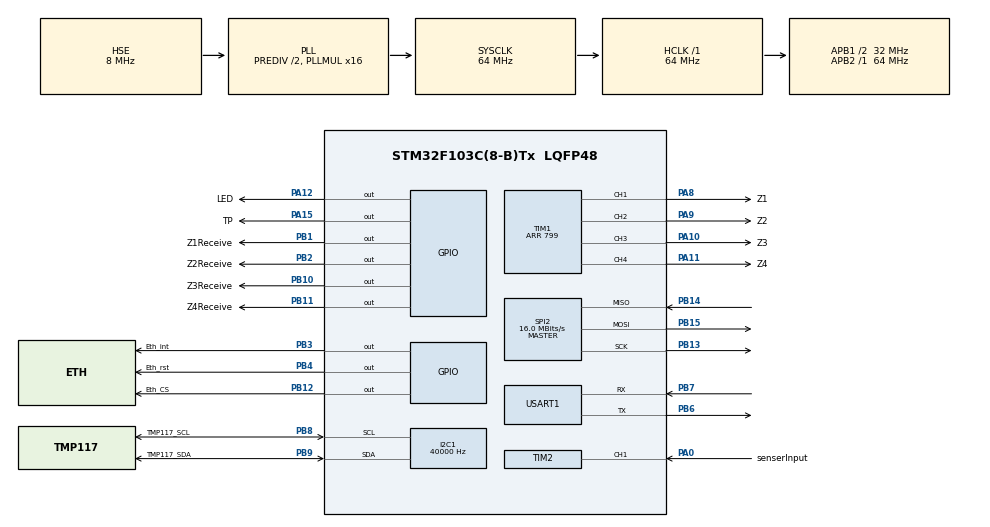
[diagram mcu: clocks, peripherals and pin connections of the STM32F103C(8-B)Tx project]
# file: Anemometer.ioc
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Mcu.Family=STM32F1
PA11.GPIO_Speed=GPIO_SPEED_FREQ_HIGH
SH.S_TIM1_CH4.0=TIM1_CH4,Output Compare4 CH4
VP_TIM1_VS_OPM.Mode=OPM_bit
TIM2.Channel-Input_Capture1_from_TI1=TIM_CHANNEL_1
PB10.GPIO_Speed=GPIO_SPEED_FREQ_HIGH
SPI2.VirtualType=VM_MASTER
TIM1.RepetitionCounter=7
VP_TIM3_VS_OPM.Mode=OPM_bit
VP_IWDG_VS_IWDG.Mode=IWDG_Activate
PB2.GPIO_Speed=GPIO_SPEED_FREQ_HIGH
PB11.Signal=GPIO_Output
PB15.Signal=SPI2_MOSI
PB13.Signal=SPI2_SCK
TIM4.TIM_MasterOutputTrigger=TIM_TRGO_UPDATE
RCC.SYSCLKSource=RCC_SYSCLKSOURCE_PLLCLK
ProjectManager.StackSize=0x400
PD1-OSC_OUT.Signal=RCC_OSC_OUT
PB11.GPIO_Speed=GPIO_SPEED_FREQ_HIGH
VP_TIM2_VS_ClockSourceITR.Mode=TriggerSource_ITR2
PA15.GPIO_Label=TP
TIM1.Channel-Output\ Compare2\ CH2=TIM_CHANNEL_2
PA12.Signal=GPIO_Output
SPI2.CLKPolarity=SPI_POLARITY_LOW
TIM2.ICPolarity_CH2=TIM_INPUTCHANNELPOLARITY_FALLING
I2C1.ClockSpeed=40000
RCC.HCLKFreq_Value=64000000
RCC.APB2TimFreq_Value=64000000
TIM3.Period=30800
PB6.Signal=USART1_TX
PB6.Mode=Asynchronous
TIM1.OC1Preload=ENABLE
RCC.AHBFreq_Value=64000000
SPI2.BaudRatePrescaler=SPI_BAUDRATEPRESCALER_2
PA12.PinState=GPIO_PIN_RESET
PB2.Signal=GPIO_Output
RCC.PLLMUL=RCC_PLL_MUL16
PB12.GPIO_Label=Eth_CS
PB1.GPIO_Speed=GPIO_SPEED_FREQ_HIGH
PB14.Mode=Full_Duplex_Master
PB1.GPIO_Label=Z1Receive
NVIC.TIM2_IRQn=true\:0\:0\:false\:false\:true\:true\:true
PA10.GPIO_Label=Z3
SPI2.CalculateBaudRate=16.0 MBits/s
PB7.Signal=USART1_RX
PA8.Signal=S_TIM1_CH1
TIM4.Period=65535
VP_TIM3_VS_ClockSourceITR.Mode=TriggerSource_ITR0
VP_TIM1_VS_ClockSourceINT.Mode=Internal
PB9.Signal=I2C1_SDA
Mcu.Package=LQFP48
TIM2.Prescaler=0
PB1.Signal=GPIO_Output
SPI2.Mode=SPI_MODE_MASTER
TIM2.Channel-Input_Capture2_from_TI1=TIM_CHANNEL_2
PA10.Signal=S_TIM1_CH3
PA15.Signal=GPIO_Output
SPI2.CLKPhase=SPI_PHASE_1EDGE
PA10.GPIO_Speed=GPIO_SPEED_FREQ_HIGH
TIM2.TIM_MasterOutputTrigger=TIM_TRGO_RESET
RCC.APB1TimFreq_Value=64000000
SPI2.Direction=SPI_DIRECTION_2LINES
TIM1.Period=799
PB13.Mode=Full_Duplex_Master
PA8.GPIO_Speed=GPIO_SPEED_FREQ_HIGH
VP_TIM3_VS_ClockSourceINT.Mode=Internal
PA12.GPIO_Speed=GPIO_SPEED_FREQ_HIGH
TIM1.Channel-Output\ Compare3\ CH3=TIM_CHANNEL_3
PB4.Signal=GPIO_Output
PB3.GPIO_Label=Eth_int
RCC.PLLSourceVirtual=RCC_PLLSOURCE_HSE
TIM4.AutoReloadPreload=TIM_AUTORELOAD_PRELOAD_ENABLE
TIM3.Channel-Output\ Compare1\ No\ Output=TIM_CHANNEL_1
PD1-OSC_OUT.Mode=HSE-External-Oscillator
PB9.GPIO_Label=TMP117_SDA
TIM3.AutoReloadPreload=TIM_AUTORELOAD_PRELOAD_ENABLE
TIM1.OCMode_4=TIM_OCMODE_TOGGLE
VP_TIM2_VS_ControllerModeReset.Mode=Reset Mode
TIM1.OCMode_3=TIM_OCMODE_TOGGLE
VP_TIM3_VS_ControllerModeTrigger.Mode=Trigger Mode
TIM1.CounterMode=TIM_COUNTERMODE_UP
PA9.GPIO_Label=Z2
TIM1.OCMode_2=TIM_OCMODE_TOGGLE
TIM1.OCMode_1=TIM_OCMODE_TOGGLE
PB11.GPIO_Label=Z4Receive
PA11.GPIO_Label=Z4
PD0-OSC_IN.Signal=RCC_OSC_IN
RCC.APB1CLKDivider=RCC_HCLK_DIV2
VP_SYS_VS_ND.Mode=No_Debug
PA12.GPIO_Label=LED
PA0-WKUP.GPIO_Label=senserInput
PA0-WKUP.Signal=S_TIM2_CH1_ETR
TIM1.ClockDivision=TIM_CLOCKDIVISION_DIV1
TIM1.AutoReloadPreload=TIM_AUTORELOAD_PRELOAD_ENABLE
PB8.GPIO_Label=TMP117_SCL
PA8.GPIO_Label=Z1
SH.S_TIM1_CH1.0=TIM1_CH1,Output Compare1 CH1
ProjectManager.TargetToolchain=STM32CubeIDE
PB10.GPIO_Label=Z3Receive
SPI2.CRCCalculation=SPI_CRCCALCULATION_DISABLE
I2C1.I2C_Mode=I2C_Standard
PB9.Mode=I2C
PA9.Signal=S_TIM1_CH2
RCC.USBFreq_Value=64000000
TIM1.Channel-Output\ Compare4\ CH4=TIM_CHANNEL_4
TIM4.Prescaler=2
PB12.GPIO_Speed=GPIO_SPEED_FREQ_HIGH
PD0-OSC_IN.Mode=HSE-External-Oscillator
PB10.Signal=GPIO_Output
PB14.Signal=SPI2_MISO
board=custom
VP_TIM3_VS_no_output1.Mode=Output Compare1 No Output
PB15.Mode=Full_Duplex_Master
NVIC.TIM3_IRQn=true\:0\:0\:true\:false\:true\:true\:true
PA15.PinState=GPIO_PIN_RESET
TIM1.TIM_MasterOutputTrigger=TIM_TRGO_OC1
RCC.APB2Freq_Value=64000000
PB4.GPIO_Label=Eth_rst
TIM3.OCMode_1=TIM_OCMODE_ACTIVE
TIM4.ClockDivision=TIM_CLOCKDIVISION_DIV1
SH.S_TIM1_CH2.0=TIM1_CH2,Output Compare2 CH2
VP_TIM2_VS_ClockSourceINT.Mode=Internal
Mcu.Name=STM32F103C(8-B)Tx
PB3.Signal=GPIO_Output
RCC.SYSCLKFreq_VALUE=64000000
RCC.HSEDivPLL=RCC_HSE_PREDIV_DIV2
SPI2.FirstBit=SPI_FIRSTBIT_MSB
TIM3.TIM_MasterSlaveMode=TIM_MASTERSLAVEMODE_DISABLE
USART1.VirtualMode=VM_ASYNC
PA15.GPIO_Speed=GPIO_SPEED_FREQ_HIGH
PB7.Mode=Asynchronous
SH.S_TIM2_CH1_ETR.1=TIM2_CH1,Input_Capture2_from_TI1
PA11.Signal=S_TIM1_CH4
SH.S_TIM2_CH1_ETR.0=TIM2_CH1,Input_Capture1_from_TI1
PB2.GPIO_Label=Z2Receive
ProjectManager.HeapSize=0x200
TIM1.Channel-Output\ Compare1\ CH1=TIM_CHANNEL_1
SH.S_TIM1_CH3.0=TIM1_CH3,Output Compare3 CH3
TIM1.Pulse-Output\ Compare1\ CH1=0
VP_TIM4_VS_ClockSourceINT.Mode=Internal
NVIC.PriorityGroup=NVIC_PRIORITYGROUP_4
PB8.Mode=I2C
IWDG.Prescaler=IWDG_PRESCALER_128
TIM2.TIM_MasterSlaveMode=TIM_MASTERSLAVEMODE_DISABLE
PA9.GPIO_Speed=GPIO_SPEED_FREQ_HIGH
PB8.Signal=I2C1_SCL
TIM2.AutoReloadPreload=TIM_AUTORELOAD_PRELOAD_DISABLE
SPI2.DataSize=SPI_DATASIZE_8BIT
TIM3.TIM_MasterOutputTrigger=TIM_TRGO_OC1
NVIC.TIM4_IRQn=true\:0\:0\:false\:false\:true\:true\:true
RCC.APB1Freq_Value=32000000
PB12.Signal=GPIO_Output
TIM1.TIM_MasterSlaveMode=TIM_MASTERSLAVEMODE_DISABLE

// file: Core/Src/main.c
/* USER CODE BEGIN Header */
/**
  ******************************************************************************
  * @file           : main.c
  * @brief          : Main program body
  ******************************************************************************
  * @attention
  *
  * <h2><center>&copy; Copyright (c) 2022 STMicroelectronics.
  * All rights reserved.</center></h2>
  *
  * This software component is licensed by ST under BSD 3-Clause license,
  * the "License"; You may not use this file except in compliance with the
  * License. You may obtain a copy of the License at:
  *                        opensource.org/licenses/BSD-3-Clause
  *
  ******************************************************************************

  Clock timers must be 64MHz.

  */
/* USER CODE END Header */
#include "main.h"

I2C_HandleTypeDef hi2c1;

IWDG_HandleTypeDef hiwdg;

SPI_HandleTypeDef hspi2;

TIM_HandleTypeDef htim1;
TIM_HandleTypeDef htim2;
TIM_HandleTypeDef htim3;
TIM_HandleTypeDef htim4;

UART_HandleTypeDef huart1;

/* USER CODE BEGIN PV */
HAL_StatusTypeDef	flash_ok;
char uart_buffer[10] = {0,};
char SndBuffer[200] = {0,};
uint32_t fastCounter;
wiz_NetInfo net_info = {
	.mac  = { MAC_ADDRESS },
	.dhcp = NETINFO_DHCP
};
/* USER CODE END PV */

void SystemClock_Config(void);
static void MX_GPIO_Init(void);
static void MX_TIM1_Init(void);
static void MX_USART1_UART_Init(void);
static void MX_TIM2_Init(void);
static void MX_TIM4_Init(void);
static void MX_TIM3_Init(void);
static void MX_I2C1_Init(void);
static void MX_SPI2_Init(void);
static void MX_IWDG_Init(void);

/* USER CODE BEGIN 0 */

void rwFlash(uint8_t rwFlag) {
	uint32_t pageAdr = 0x800FC00; //.
	uint32_t magicKey;
	uint64_t dataForSave;
	magicKey = *(__IO uint32_t*) pageAdr;
	if ((magicKey != 0x12349876) || (rwFlag == 1)) { // rwFlag == 1 for wrtite data to flash
		magicKey = 0x12349876;
		if (rwFlag == 0) { // For first initial
			C_12 = CALIBRATE_START;
			C_34 = CALIBRATE_START;
			C_14 = CALIBRATE_START;
			C_23 = CALIBRATE_START;
			DX1.f = 1;
			DX2.f = 1;
			DY1.f = 1;
			DY2.f = 1;
		}
		FLASH_EraseInitTypeDef EraseInitStruct;
		uint32_t PAGEError = 0;
		EraseInitStruct.TypeErase   = FLASH_TYPEERASE_PAGES;
		EraseInitStruct.PageAddress = pageAdr; //
		EraseInitStruct.NbPages     = 1;

		flash_ok = HAL_ERROR;
		// Unlock flash
		while(flash_ok != HAL_OK) {
		  flash_ok = HAL_FLASH_Unlock();
		}
		if (HAL_FLASHEx_Erase(&EraseInitStruct, &PAGEError) == HAL_OK) {
			dataForSave = (uint64_t) magicKey;
			flash_ok = HAL_ERROR;
			while(flash_ok != HAL_OK){
				flash_ok = HAL_FLASH_Program(FLASH_TYPEPROGRAM_DOUBLEWORD, pageAdr, dataForSave); // Write  magic key
			}
			dataForSave = (uint64_t) (C_12 | ((uint64_t) C_34 << 16) | ((uint64_t) C_14 << 32) | ((uint64_t) C_23 << 48));
			flash_ok = HAL_ERROR;
			while(flash_ok != HAL_OK){
				flash_ok = HAL_FLASH_Program(FLASH_TYPEPROGRAM_DOUBLEWORD, pageAdr + 16, dataForSave); // Write C_12 C_34 C_14 C_23
			}
			flash_ok = HAL_ERROR;
			while(flash_ok != HAL_OK){
				flash_ok = HAL_FLASH_Program(FLASH_TYPEPROGRAM_WORD, pageAdr + 24, DX1.u); // Write DX1
			}
			flash_ok = HAL_ERROR;
			while(flash_ok != HAL_OK){
				flash_ok = HAL_FLASH_Program(FLASH_TYPEPROGRAM_WORD, pageAdr + 28, DX2.u); // Write DX2
			}
			flash_ok = HAL_ERROR;
			while(flash_ok != HAL_OK){
				flash_ok = HAL_FLASH_Program(FLASH_TYPEPROGRAM_WORD, pageAdr + 32, DY1.u); // Write DY1
			}
			flash_ok = HAL_ERROR;
			while(flash_ok != HAL_OK){
				flash_ok = HAL_FLASH_Program(FLASH_TYPEPROGRAM_WORD, pageAdr + 36, DY2.u); // Write DY2
			}
		}
		// Lock flash
		flash_ok = HAL_ERROR;
		while(flash_ok != HAL_OK){
			flash_ok = HAL_FLASH_Lock();
		}
	} else {
		C_12 = *(__IO uint16_t*) (pageAdr + 16);
		C_34 = *(__IO uint16_t*) (pageAdr + 18);
		C_14 = *(__IO uint16_t*) (pageAdr + 20);
		C_23 = *(__IO uint16_t*) (pageAdr + 22);
		memset(SndBuffer, 0, sizeof(SndBuffer));
		sprintf(SndBuffer, "C_12: %5d, C_34: %5d, C_14: %5d, C_23: %5d\r\n", C_12, C_34, C_14, C_23);
		HAL_UART_Transmit(&huart1, (uint8_t *) SndBuffer, sizeof(SndBuffer), 1000);
		DX1.u = *(__IO uint32_t*) (pageAdr + 24);
		DX2.u = *(__IO uint32_t*) (pageAdr + 28);
		DY1.u = *(__IO uint32_t*) (pageAdr + 32);
		DY2.u = *(__IO uint32_t*) (pageAdr + 36);
		memset(SndBuffer, 0, sizeof(SndBuffer));
		sprintf(SndBuffer, "DX1: %7.6f, DX2: %7.6f, DY1: %7.6f, DY2: %7.6f\r\n", DX1.f, DX2.f, DY1.f, DY2.f);
		HAL_UART_Transmit(&huart1, (uint8_t *) SndBuffer, sizeof(SndBuffer), 1000);
	}
}

#ifdef ZABBIX_DEBUG
void UART_Printf(const char* fmt, ...) {
	char buff[256];
	va_list args;
	va_start(args, fmt);
	vsnprintf(buff, sizeof(buff), fmt, args);
	HAL_UART_Transmit(&huart1, (uint8_t*) buff, strlen(buff), HAL_MAX_DELAY);
	va_end(args);
}
#endif

void W5500_Select(void) {
	HAL_GPIO_WritePin(GPIOB, W5500_CS_Pin, GPIO_PIN_RESET);
}

void W5500_Unselect(void) {
	HAL_GPIO_WritePin(GPIOB, W5500_CS_Pin, GPIO_PIN_SET);
}

void W5500_ReadBuff(uint8_t* buff, uint16_t len) {
	HAL_SPI_Receive(&hspi2, buff, len, HAL_MAX_DELAY);
}

void W5500_WriteBuff(uint8_t* buff, uint16_t len) {
	HAL_SPI_Transmit(&hspi2, buff, len, HAL_MAX_DELAY);
}

uint8_t W5500_ReadByte(void) {
	uint8_t byte;
	W5500_ReadBuff(&byte, sizeof(byte));
	return byte;
}

void W5500_WriteByte(uint8_t byte) {
	W5500_WriteBuff(&byte, sizeof(byte));
}

volatile bool ip_assigned = false;

void Callback_IPAssigned(void) {
#ifdef ZABBIX_DEBUG
	UART_Printf("Callback: IP assigned! Leased time: %d sec\r\n", getDHCPLeasetime());
#endif
    ip_assigned = true;
}

void Callback_IPConflict(void) {
#ifdef ZABBIX_DEBUG
    UART_Printf("Callback: IP conflict!\r\n");
#endif
}

// 1K should be enough, see https://forum.wiznet.io/t/topic/1612/2
uint8_t dhcp_buffer[1024];
// 1K seems to be enough for this buffer as well
//uint8_t dns_buffer[1024];

/*
 * addr -- IP address zabbix server, dhcp option 224.
 * Settings for isc-dhcp-server:
 * 		option zabbix-server-ip code 224 = ip-address ;
 * 		option zabix-host-name code 225 = string ;
 * 		host anemometr {
 *      	hardware ethernet 00:11:22:33:44:xx;
 *      	fixed-address 192.168.1.24;
 *       	option zabbix-server-ip 192.168.1.6;
 *       	option zabix-host-name "Ed";
 * 		}
 *
 * key -- Zabbix key: {ALTIM_DIRECT, ALTIM_SPEED}
 *
 * value -- Float value of key.
*/
uint8_t sendToZabbix(uint8_t * addr, char * host, char * key, float value) {
#ifdef ZABBIX_DEBUG
    UART_Printf("Creating socket...\r\n");
#endif
    uint8_t tcp_socket = TCP_SOCKET;
    uint8_t code = socket(tcp_socket, Sn_MR_TCP, 10888, 0);
    if(code != tcp_socket) {
	#ifdef ZABBIX_DEBUG
        UART_Printf("socket() failed, code = %d\r\n", code);
	#endif
        return(-1);
    }
#ifdef ZABBIX_DEBUG
    UART_Printf("Socket created, connecting...\r\n");
#endif
    code = connect(tcp_socket, addr, ZABBIXPORT);
    if(code != SOCK_OK) {
	#ifdef ZABBIX_DEBUG
        UART_Printf("connect() failed, code = %d\r\n", code);
	#endif
        close(tcp_socket);
        return(-2);
    }
#ifdef ZABBIX_DEBUG
    UART_Printf("Connected, sending ZABBIX request...\r\n");
#endif
    {
    	char req[ZABBIXMAXLEN];
    	char str[ZABBIXMAXLEN - 13];
    	sprintf(str, "{\"request\":\"sender data\",\"data\":[{\"host\":\"%.20s\",\"key\":\"%s\",\"value\":\"%f\"}]}", host, key, value);
    	req[0] = 'Z';
    	req[1] = 'B';
		req[2] = 'X';
		req[3] = 'D';
		req[4] = 0x01;
		req[5] = strlen(str);
		req[6] = 0;
		req[7] = 0;
		req[8] = 0;
		req[9] = 0;
		req[10] = 0;
		req[11] = 0;
		req[12] = 0;
		strcpy(req + 13, str);
        //char req[] = "ZBXD\1\0\0\0\0\0\0\0\0{\"request\":\"sender data\",\"data\":[{\"host\":\"Ed\",\"key\":\"ALTIM_DIRECT\",\"value\":\"10\"}]}";
        uint8_t len = req[5] + 13;
        uint8_t* buff = (uint8_t*)&req;
        while(len > 0) {
		#ifdef ZABBIX_DEBUG
            UART_Printf("Sending %d bytes, data length %d bytes...\r\n", len, req[5]);
		#endif
            int32_t nbytes = send(tcp_socket, buff, len);
            if(nbytes <= 0) {
			#ifdef ZABBIX_DEBUG
                UART_Printf("send() failed, %d returned\r\n", nbytes);
			#endif
                close(tcp_socket);
                return(-3);
            }
			#ifdef ZABBIX_DEBUG
            UART_Printf("%d b sent!\r\n", nbytes);
			#endif
            len -= nbytes;
        }
    }
    /* Read data from Zabbix */
	#ifdef ZABBIX_DEBUG
		UART_Printf("Read.\r\n");
		{
			char buff[32];
			for(;;) {
				int32_t nbytes = recv(tcp_socket, (uint8_t*)&buff, sizeof(buff)-1);
				if(nbytes == SOCKERR_SOCKSTATUS) {
					UART_Printf("\r\nDisconnect.\r\n");
					break;
				}

				if(nbytes <= 0) {
					UART_Printf("\r\nrecv() failed, %d\r\n", nbytes);
					break;
				}

				buff[nbytes] = '\0';
				UART_Printf("%s", buff);
			}
		}

		UART_Printf("Closing socket.\r\n");
	#endif
    close(tcp_socket);
    return(0);
}

void init_w5500() {
	#ifdef ZABBIX_DEBUG
    UART_Printf("\r\ninit() called!\r\n");
    UART_Printf("Registering W5500 callbacks...\r\n");
	#endif
    reg_wizchip_cs_cbfunc(W5500_Select, W5500_Unselect);
    reg_wizchip_spi_cbfunc(W5500_ReadByte, W5500_WriteByte);
    reg_wizchip_spiburst_cbfunc(W5500_ReadBuff, W5500_WriteBuff);
	#ifdef ZABBIX_DEBUG
    UART_Printf("Calling wizchip_init()...\r\n");
	#endif
    uint8_t rx_tx_buff_sizes[] = {2, 2, 2, 2, 2, 2, 2, 2};
    wizchip_init(rx_tx_buff_sizes, rx_tx_buff_sizes);
	#ifdef ZABBIX_DEBUG
    UART_Printf("Calling DHCP_init()...\r\n");
	#endif

    // set MAC address before using DHCP
    setSHAR(net_info.mac);
    DHCP_init(DHCP_SOCKET, dhcp_buffer);
	#ifdef ZABBIX_DEBUG
    UART_Printf("Registering DHCP callbacks...\r\n");
	#endif
    reg_dhcp_cbfunc(
        Callback_IPAssigned,
        Callback_IPAssigned,
        Callback_IPConflict
    );
	#ifdef ZABBIX_DEBUG
    UART_Printf("Calling DHCP_run()...\r\n");
	#endif
    // actually should be called in a loop, e.g. by timer
    uint32_t ctr = 10000;
    while((!ip_assigned) && (ctr > 0)) {
        DHCP_run();
        ctr--;
        HAL_Delay(100);
    }
    if(!ip_assigned) {
		#ifdef ZABBIX_DEBUG
        UART_Printf("\r\nIP was not assigned :(\r\n");
		#endif
        return;
    }

    getIPfromDHCP(net_info.ip);
    getGWfromDHCP(net_info.gw);
    getSNfromDHCP(net_info.sn);
    getZABBIXfromDHCP(net_info.zabbix);
    getHostNamefromDHCP(net_info.hostname);
    if (net_info.hostname[0] == '\0') {
    	sprintf(ZabbixHostName, "%s", ZABBIXAGHOST);
    } else {
    	sprintf(ZabbixHostName, "%s", net_info.hostname);
    }

    //uint8_t dns[4];
    //getDNSfromDHCP(dns);
	#ifdef ZABBIX_DEBUG
    UART_Printf("IP:  %d.%d.%d.%d\r\nGW:  %d.%d.%d.%d\r\nNet: %d.%d.%d.%d\r\nZabbix: %d.%d.%d.%d\r\nHostName:%s\r\n",
        net_info.ip[0], net_info.ip[1], net_info.ip[2], net_info.ip[3],
        net_info.gw[0], net_info.gw[1], net_info.gw[2], net_info.gw[3],
        net_info.sn[0], net_info.sn[1], net_info.sn[2], net_info.sn[3],
        net_info.zabbix[0], net_info.zabbix[1], net_info.zabbix[2], net_info.zabbix[3],
		ZabbixHostName
    );
    UART_Printf("Calling wizchip_setnetinfo()...\r\n");
	#endif
    wizchip_setnetinfo(&net_info);

}

/* USER CODE END 0 */

int main(void)
{

  /* MCU Configuration--------------------------------------------------------*/

  /* Reset of all peripherals, Initializes the Flash interface and the Systick. */
  HAL_Init();

  /* Configure the system clock */
  SystemClock_Config();

  /* Initialize all configured peripherals */
  MX_GPIO_Init();
  MX_TIM1_Init();
  MX_USART1_UART_Init();
  MX_TIM2_Init();
  MX_TIM4_Init();
  MX_TIM3_Init();
  MX_I2C1_Init();
  MX_SPI2_Init();
  MX_IWDG_Init();

  /* Infinite loop */
  /* USER CODE BEGIN WHILE */
  HAL_GPIO_WritePin(GPIOA, LED_Pin, GPIO_PIN_SET);
  readyFlag = TRUE;
  sumCounter2 = 0;
  /* Turn off all multiplexer */
  GPIOB->ODR &= ~((1 << Z1Receive) | (1 << Z2Receive) | (1 << Z3Receive) | (1 << Z4Receive));
  /*
   * currentMode
   * Z1--Z2
   * |	  | > N
   * Z4__Z3
   *
   * 0 - Z1 >> Z2
   * 1 - Z2 >> Z1
   * 2 - Z2 >> Z3
   * 3 - Z3 >> Z2
   * 4 - Z3 >> Z4
   * 5 - Z4 >> Z3
   * 6 - Z4 >> Z1
   * 7 - Z1 >> Z4
   */
  HAL_UART_Transmit(&huart1, (uint8_t *) START_TEXT, sizeof(START_TEXT), HAL_MAX_DELAY);
#ifdef ZABBIX_ENABLE
  HAL_GPIO_WritePin(GPIOB, GPIO_PIN_4, GPIO_PIN_RESET);	// Reset W5500
  HAL_GPIO_WritePin(GPIOB, GPIO_PIN_4, GPIO_PIN_SET);
  HAL_GPIO_WritePin(GPIOB, W5500_CS_Pin, GPIO_PIN_SET);
  HAL_Delay(2000);
  init_w5500();
#else
  HAL_GPIO_WritePin(GPIOB, GPIO_PIN_4, GPIO_PIN_RESET);	// Reset W5500
#endif
  rwFlash(0);		// Чтение параметров калибровки из Flash.
//  C_12 = 37640;
//  C_34 = 38450;
//  C_14 = 37600;
//  C_23 = 38500;
  firstTime = TRUE;
  currentMode = 0;
  STOP_CAPTURE
  measCount = 0;
  /*
   * calibrateMode == 0 -- Нормальный режим
   * calibrateMode > 0 -- Режим калибровки
   */
  calibrateMode = 0;
  test_flag = FALSE;
  Xsum = 0;
  Ysum = 0;
  Vmax = 0;
  /*
   *	Очистка массива результатов.
   */
  for (int ii = 0; ii < MEASSURE_COUNT; ii++) {
	  resul_arrayX1[ii] = 0;
	  resul_arrayX2[ii] = 0;
	  resul_arrayY1[ii] = 0;
	  resul_arrayY2[ii] = 0;
  }
  calibrate12 = FALSE;
  calibrate34 = FALSE;
  calibrate14 = FALSE;
  calibrate23 = FALSE;
#ifdef BME280_ENABLE
  BME280_Init();
#endif
  HAL_UART_Transmit(&huart1, (uint8_t *) INIT_FINISH_TEXT, sizeof(INIT_FINISH_TEXT), HAL_MAX_DELAY);
  readyFlag = FALSE;
  currentMode = 0;
  HAL_GPIO_WritePin(GPIOA, LED_Pin, GPIO_PIN_RESET);	// LED off
  HAL_TIM_Base_Start_IT(&htim3);
  HAL_TIM_Base_Start_IT(&htim4); // Запуск измерения

  while (1) {
	  //HAL_IWDG_Refresh(&hiwdg);
	  if (readyFlag) {
		  SysTick->CTRL |= SysTick_CTRL_ENABLE_Msk;  // Включение SysTick
		  HAL_IWDG_Refresh(&hiwdg);
		  readyFlag = FALSE;
		  if (calibrateMode > 0) {
			  /* Процедура калибровки */
			  if ((calibrate12 || calibrate34 || calibrate14 || calibrate23) && (calibrateCount < CALIBRATE_MAX_COUNT)) {
				  memset(SndBuffer, 0, sizeof(SndBuffer));
				  if (test_flag) {
					  sprintf(SndBuffer, "Z12-Z21:%5.0f, Z43-Z34:%5.0f, Z23-Z32:%5.0f, Z14-Z41:%5.0f   \r",
							  resul_arrayY1[0] - resul_arrayY2[0] * DY1.f,
							  resul_arrayY4[0] - resul_arrayY3[0] * DY2.f,
							  resul_arrayX1[0] - resul_arrayX2[0] * DX1.f,
							  resul_arrayX4[0] - resul_arrayX3[0] * DX2.f);
				  } else {
					  sprintf(SndBuffer, "Z12-Z21:%5.0f-%5.0f, Z43-Z34:%5.0f-%5.0f, Z14-Z41:%5.0f-%5.0f, Z23-Z32:%5.0f-%5.0f   \r",
							  resul_arrayY1[0], resul_arrayY2[0], resul_arrayY3[0], resul_arrayY4[0], resul_arrayX1[0], resul_arrayX2[0], resul_arrayX3[0], resul_arrayX4[0]);
				  }
				  HAL_UART_Transmit(&huart1, (uint8_t *) SndBuffer, sizeof(SndBuffer), 1000);
				  /* Y */
				  if (! test_flag) {
					  if ( calibrate12 && (abs(resul_arrayY1[0] + resul_arrayY2[0] - 1600) > CALIBRATE_ACURACY) ) {
						  if (resul_arrayY1[0] + resul_arrayY2[0] > 1600) {
							  C_12++;
						  } else {
							  C_12--;
						  }
					  } else {
						  calibrate12 = FALSE;	// Закончена калибровка таймера запуска измерения в канале Y1
					  }
					  if ( calibrate34 && (abs(resul_arrayY3[0] + resul_arrayY4[0] - 1600) > CALIBRATE_ACURACY) ) {
						  if (resul_arrayY3[0] + resul_arrayY4[0] > 1600) {
							  C_34++;
						  } else {
							  C_34--;
						  }
					  } else {
						  calibrate34 = FALSE;	// Закончена калибровка таймера запуска измерения в канале Y2
					  }
					  /* X */
					  if ( calibrate14 && (abs(resul_arrayX3[0] + resul_arrayX4[0] - 1600) > CALIBRATE_ACURACY) ) {
						  if(resul_arrayX3[0] + resul_arrayX4[0] > 1600) {
							  C_14++;
						  } else {
							  C_14--;
						  }
					  } else {
						  calibrate14 = FALSE;	// Закончена калибровка таймера запуска измерения в канале X2
					  }
					  if ( calibrate23 && (abs(resul_arrayX1[0] + resul_arrayX2[0] - 1600) > CALIBRATE_ACURACY) ) {
						  if(resul_arrayX1[0] + resul_arrayX2[0] > 1600) {
							  C_23++;
						  } else {
							  C_23--;
						  }
					  } else {
						  calibrate23 = FALSE;	// Закончена калибровка таймера запуска измерения в канале X1
					  }
					  calibrateCount++;
				  }
				#ifdef SYSTICK_DISABLE
				  SysTick->CTRL &= ~SysTick_CTRL_ENABLE_Msk;  // Выключение SysTick
				#endif
				  HAL_TIM_Base_Start_IT(&htim4);  // Перезапуск для начала измерений
			  } else {
				  if (calibrateCount >= CALIBRATE_MAX_COUNT) {
					  HAL_UART_Transmit(&huart1, (uint8_t *) CALIBRATE_ERROR_TOUT, sizeof(CALIBRATE_ERROR_TOUT), 1000);
					  /* System restart if calibrate error. */
					  HAL_NVIC_SystemReset();
				  }
				  if (calibrateMode > 0) {
					  ZX1 = ZX1 + (float) resul_arrayX1[0];
					  ZX2 = ZX2 + (float) resul_arrayX2[0];
					  ZX3 = ZX3 + (float) resul_arrayX3[0];
					  ZX4 = ZX4 + (float) resul_arrayX4[0];
					  ZY1 = ZY1 + (float) resul_arrayY1[0];
					  ZY2 = ZY2 + (float) resul_arrayY2[0];
					  ZY3 = ZY3 + (float) resul_arrayY3[0];
					  ZY4 = ZY4 + (float) resul_arrayY4[0];
					  //DY2.f = DY2.f + (float) (Z23 - Z32);
					  calibrateMode--;
					  if (calibrateMode == 0) {
						  /* Вычисление поправок */
						  DX1.f = ZX1 / ZX2;
						  DX2.f = ZX4 / ZX3;
						  DY1.f = ZY1 / ZY2;
						  DY2.f = ZY4 / ZY3;
						  memset(SndBuffer, 0, sizeof(SndBuffer));
						  sprintf(SndBuffer, "\r\nCalibrate complite.\r\nC_12:%5d, C_34:%5d, C_14:%5d, C_23:%5d\r\n", C_12, C_34, C_14, C_23);
						  HAL_UART_Transmit(&huart1, (uint8_t *) SndBuffer, sizeof(SndBuffer), 1000);
						  memset(SndBuffer, 0, sizeof(SndBuffer));
						  sprintf(SndBuffer, "DX1:%5.4f, DX2:%5.4f, DY1:%5.4f, DY2:%5.4f\r\n\r\n", DX1.f, DX2.f, DY1.f, DY2.f);
						  HAL_UART_Transmit(&huart1, (uint8_t *) SndBuffer, sizeof(SndBuffer), 1000);
						  if (abs(DX1.f) < 2 && abs(DX2.f) < 2 && abs(DY1.f) < 2 && abs(DY2.f) < 2) {
							  rwFlash(1);  // Запись данных калибровки во Flash.
						  } else {
							  HAL_UART_Transmit(&huart1, (uint8_t *) CALIBRATE_ERROR_RANGE, sizeof(CALIBRATE_ERROR_RANGE), 1000);
						  }
						  calibrateCount = 0;
						  firstTime = TRUE;
					  }
				  }
				#ifdef SYSTICK_DISABLE
				  SysTick->CTRL &= ~SysTick_CTRL_ENABLE_Msk;  // Выключение SysTick
				#endif
				  HAL_TIM_Base_Start_IT(&htim4);  // Перезапуск для начала измерений
			  }
			  //HAL_GPIO_WritePin(GPIOA, LED_Pin, GPIO_PIN_RESET);
		  } else {
			  //HAL_GPIO_WritePin(GPIOA, LED_Pin, GPIO_PIN_SET);
			#ifdef TMP117_ENABLE
			  temperature = TMP117_get_Temperature(hi2c1);
			#endif
			#ifdef BME280_ENABLE
			  temperature = BME280_ReadTemperature();
			  pressure = BME280_ReadPressure() * 0.00750063755419211f; //0.00750063755419211
			  humidity = BME280_ReadHumidity();
			#endif
			  /*
			  memset(SndBuffer, 0, sizeof(SndBuffer));
			  for (int iii = 0; iii < MEASSURE_COUNT; iii++) {
				  sprintf(SndBuffer, "X3:%5.2f, X4:%5.2f                 \r\n", resul_arrayX3[iii], resul_arrayX4[iii]);
				  HAL_UART_Transmit(&huart1, (uint8_t *) SndBuffer, sizeof(SndBuffer), 1000);
			  }*/
			#ifdef ZABBIX_ENABLE
				#if defined(TMP117_ENABLE) || defined(BME280_ENABLE)
			  	  if ((temperature < 60.0) && (temperature > -40.0)) {
			  		  sendToZabbix(net_info.zabbix, ZabbixHostName, "ALTIM_TEMPERATURE", temperature);
					#ifdef BME280_ENABLE
					  sendToZabbix(net_info.zabbix, ZabbixHostName, "ALTIM_PRESSURE", pressure);
					  sendToZabbix(net_info.zabbix, ZabbixHostName, "ALTIM_HUMIDITY", humidity);
					#endif
			  	  } else {
					#ifdef BME280_ENABLE
			  		HAL_I2C_DeInit(&hi2c1);
			  		MX_I2C1_Init();
			  		BME280_Init();  // Сбой датчика bme280, пробуем исправить.
					#endif
			  	  }
				#endif
			  if ( V != 0 ) {
				  if ( (! firstTime) && (V < MAX_SPEED) && (Vmaxfin < MAX_SPEED) ) {  // Первый раз пропускаем для инициализации переменных.
					  sendToZabbix(net_info.zabbix, ZabbixHostName, "ALTIM_SPEED", V);
					  sendToZabbix(net_info.zabbix, ZabbixHostName, "ALTIM_DIRECT", A);
					  sendToZabbix(net_info.zabbix, ZabbixHostName, "ALTIM_MAXSPEED", Vmaxfin);
				  }
			  } else {
				  if ( (! firstTime) && (Vmaxfin < MAX_SPEED) ) {
					  sendToZabbix(net_info.zabbix, ZabbixHostName, "ALTIM_SPEED", 0);
					  sendToZabbix(net_info.zabbix, ZabbixHostName, "ALTIM_MAXSPEED", Vmaxfin);
				  }
			  }
			#endif
			  //HAL_GPIO_WritePin(GPIOA, LED_Pin, GPIO_PIN_RESET);
			  if ( ! firstTime ) {
				  sprintf(SndBuffer, "X:%5.2f, Y:%5.2f, V:%5.2f, Vmax:%5.2f, Xmax:%5.2f, Ymax:%5.2f, A:%3.0f, T:%5.2f, P:%8.3f, H:%5.2f   \r",
						  Xsum, Ysum, V, Vmaxfin, Xmaxfin, Ymaxfin, A, temperature, pressure, humidity);
				  HAL_UART_Transmit(&huart1, (uint8_t *) SndBuffer, sizeof(SndBuffer), 1000);
			  }
			  firstTime = FALSE;
				#ifdef SYSTICK_DISABLE
				  SysTick->CTRL &= ~SysTick_CTRL_ENABLE_Msk;  // Выключение SysTick
				#endif
			  HAL_TIM_Base_Start_IT(&htim4);  // Перезапуск для начала измерений
		  }
	  //} else {
		//  HAL_Delay(1);
	  }
	  /*
	   * Подготовка запуска процедуры калибровки
	   */
	  if(HAL_UART_Receive(&huart1, (uint8_t *) uart_buffer, 1, 10) ) {
		  if (uart_buffer[0] == 'c' ) {  // Клавиша c нажата ?
			  HAL_UART_Transmit(&huart1, (uint8_t *) CALIBRATE_TEXT, sizeof(CALIBRATE_TEXT), 1000);
			  HAL_TIM_Base_Stop_IT(&htim4); // Остановим измерения
			  STOP_CAPTURE
			  memset(SndBuffer, 0, sizeof(SndBuffer));
			  calibrate12 = TRUE;
			  calibrate34 = TRUE;
			  calibrate14 = TRUE;
			  calibrate23 = TRUE;
			  test_flag = FALSE;
			  calibrateCount = 0;
			  C_12 = CALIBRATE_START;
			  C_34 = CALIBRATE_START;
			  C_14 = CALIBRATE_START;
			  C_23 = CALIBRATE_START;
			  ZX1 = 0;
			  ZX2 = 0;
			  ZX3 = 0;
			  ZX4 = 0;
			  ZY1 = 0;
			  ZY2 = 0;
			  ZY3 = 0;
			  ZY4 = 0;
			  DX1.f = 0;
			  DX2.f = 0;
			  DY1.f = 0;
			  DY2.f = 0;
			  test_cnt = 0;
			  calibrateMode = MEASSURE_COUNT * CALIBRATE_TIMES;
			  currentMode = 0;
			  measCount = 0;
			  HAL_TIM_Base_Start_IT(&htim4); // Запуск измерения
		  } else {
			  if (uart_buffer[0] == 't' ) {		// Test
				  HAL_TIM_Base_Stop_IT(&htim4); // Остановим измерения
				  STOP_CAPTURE
				  HAL_UART_Transmit(&huart1, (uint8_t *) TEST_TEXT, sizeof(TEST_TEXT), 1000);
				  calibrateMode = 1;
				  calibrateCount = 0;
				  test_flag = TRUE;
				  calibrate12 = TRUE;
				  calibrate34 = TRUE;
				  calibrate14 = TRUE;
				  calibrate23 = TRUE;
				  measCount = 0;
				  HAL_TIM_Base_Start_IT(&htim4); // Запуск измерения
			  } else {
				  if (uart_buffer[0] == 'r' ) {		// Terminate calibration && test
					  HAL_TIM_Base_Stop_IT(&htim4); // Остановим измерения
					  STOP_CAPTURE
					  HAL_UART_Transmit(&huart1, (uint8_t *) TEST_TERMINATE, sizeof(TEST_TERMINATE), 1000);
					  test_flag = 0;
					  calibrate12 = TRUE;
					  calibrate34 = TRUE;
					  calibrate14 = TRUE;
					  calibrate23 = TRUE;
					  calibrateMode = 0;
					  calibrateCount = 0;
					  measCount = 0;
					  rwFlash(0);		// Чтение параметров калибровки из Flash.
					  HAL_TIM_Base_Start_IT(&htim4); // Запуск измерения
				  }
			  }
		  }
		  uart_buffer[0] = 0x00;
	  }

    /* USER CODE END WHILE */

  }
}

void SystemClock_Config(void)
{
  RCC_OscInitTypeDef RCC_OscInitStruct = {0};
  RCC_ClkInitTypeDef RCC_ClkInitStruct = {0};

  /** Initializes the RCC Oscillators according to the specified parameters
  * in the RCC_OscInitTypeDef structure.
  */
  RCC_OscInitStruct.OscillatorType = RCC_OSCILLATORTYPE_LSI|RCC_OSCILLATORTYPE_HSE;
  RCC_OscInitStruct.HSEState = RCC_HSE_ON;
  RCC_OscInitStruct.HSEPredivValue = RCC_HSE_PREDIV_DIV2;
  RCC_OscInitStruct.HSIState = RCC_HSI_ON;
  RCC_OscInitStruct.LSIState = RCC_LSI_ON;
  RCC_OscInitStruct.PLL.PLLState = RCC_PLL_ON;
  RCC_OscInitStruct.PLL.PLLSource = RCC_PLLSOURCE_HSE;
  RCC_OscInitStruct.PLL.PLLMUL = RCC_PLL_MUL16;
  if (HAL_RCC_OscConfig(&RCC_OscInitStruct) != HAL_OK)
  {
    Error_Handler();
  }
  /** Initializes the CPU, AHB and APB buses clocks
  */
  RCC_ClkInitStruct.ClockType = RCC_CLOCKTYPE_HCLK|RCC_CLOCKTYPE_SYSCLK
                              |RCC_CLOCKTYPE_PCLK1|RCC_CLOCKTYPE_PCLK2;
  RCC_ClkInitStruct.SYSCLKSource = RCC_SYSCLKSOURCE_PLLCLK;
  RCC_ClkInitStruct.AHBCLKDivider = RCC_SYSCLK_DIV1;
  RCC_ClkInitStruct.APB1CLKDivider = RCC_HCLK_DIV2;
  RCC_ClkInitStruct.APB2CLKDivider = RCC_HCLK_DIV1;

  if (HAL_RCC_ClockConfig(&RCC_ClkInitStruct, FLASH_LATENCY_2) != HAL_OK)
  {
    Error_Handler();
  }
}

static void MX_I2C1_Init(void)
{

  hi2c1.Instance = I2C1;
  hi2c1.Init.ClockSpeed = 40000;
  hi2c1.Init.DutyCycle = I2C_DUTYCYCLE_2;
  hi2c1.Init.OwnAddress1 = 0;
  hi2c1.Init.AddressingMode = I2C_ADDRESSINGMODE_7BIT;
  hi2c1.Init.DualAddressMode = I2C_DUALADDRESS_DISABLE;
  hi2c1.Init.OwnAddress2 = 0;
  hi2c1.Init.GeneralCallMode = I2C_GENERALCALL_DISABLE;
  hi2c1.Init.NoStretchMode = I2C_NOSTRETCH_DISABLE;
  if (HAL_I2C_Init(&hi2c1) != HAL_OK)
  {
    Error_Handler();
  }

}

static void MX_IWDG_Init(void)
{

  hiwdg.Instance = IWDG;
  hiwdg.Init.Prescaler = IWDG_PRESCALER_128;
  hiwdg.Init.Reload = 4095;
  if (HAL_IWDG_Init(&hiwdg) != HAL_OK)
  {
    Error_Handler();
  }

}

static void MX_SPI2_Init(void)
{

  /* SPI2 parameter configuration*/
  hspi2.Instance = SPI2;
  hspi2.Init.Mode = SPI_MODE_MASTER;
  hspi2.Init.Direction = SPI_DIRECTION_2LINES;
  hspi2.Init.DataSize = SPI_DATASIZE_8BIT;
  hspi2.Init.CLKPolarity = SPI_POLARITY_LOW;
  hspi2.Init.CLKPhase = SPI_PHASE_1EDGE;
  hspi2.Init.NSS = SPI_NSS_SOFT;
  hspi2.Init.BaudRatePrescaler = SPI_BAUDRATEPRESCALER_2;
  hspi2.Init.FirstBit = SPI_FIRSTBIT_MSB;
  hspi2.Init.TIMode = SPI_TIMODE_DISABLE;
  hspi2.Init.CRCCalculation = SPI_CRCCALCULATION_DISABLE;
  hspi2.Init.CRCPolynomial = 10;
  if (HAL_SPI_Init(&hspi2) != HAL_OK)
  {
    Error_Handler();
  }

}

static void MX_TIM1_Init(void)
{

  TIM_ClockConfigTypeDef sClockSourceConfig = {0};
  TIM_MasterConfigTypeDef sMasterConfig = {0};
  TIM_OC_InitTypeDef sConfigOC = {0};
  TIM_BreakDeadTimeConfigTypeDef sBreakDeadTimeConfig = {0};

  htim1.Instance = TIM1;
  htim1.Init.Prescaler = 0;
  htim1.Init.CounterMode = TIM_COUNTERMODE_UP;
  htim1.Init.Period = 799;
  htim1.Init.ClockDivision = TIM_CLOCKDIVISION_DIV1;
  htim1.Init.RepetitionCounter = 7;
  htim1.Init.AutoReloadPreload = TIM_AUTORELOAD_PRELOAD_ENABLE;
  if (HAL_TIM_Base_Init(&htim1) != HAL_OK)
  {
    Error_Handler();
  }
  sClockSourceConfig.ClockSource = TIM_CLOCKSOURCE_INTERNAL;
  if (HAL_TIM_ConfigClockSource(&htim1, &sClockSourceConfig) != HAL_OK)
  {
    Error_Handler();
  }
  if (HAL_TIM_OC_Init(&htim1) != HAL_OK)
  {
    Error_Handler();
  }
  if (HAL_TIM_OnePulse_Init(&htim1, TIM_OPMODE_SINGLE) != HAL_OK)
  {
    Error_Handler();
  }
  sMasterConfig.MasterOutputTrigger = TIM_TRGO_OC1;
  sMasterConfig.MasterSlaveMode = TIM_MASTERSLAVEMODE_DISABLE;
  if (HAL_TIMEx_MasterConfigSynchronization(&htim1, &sMasterConfig) != HAL_OK)
  {
    Error_Handler();
  }
  sConfigOC.OCMode = TIM_OCMODE_TOGGLE;
  sConfigOC.Pulse = 0;
  sConfigOC.OCPolarity = TIM_OCPOLARITY_HIGH;
  sConfigOC.OCNPolarity = TIM_OCNPOLARITY_HIGH;
  sConfigOC.OCFastMode = TIM_OCFAST_DISABLE;
  sConfigOC.OCIdleState = TIM_OCIDLESTATE_RESET;
  sConfigOC.OCNIdleState = TIM_OCNIDLESTATE_RESET;
  if (HAL_TIM_OC_ConfigChannel(&htim1, &sConfigOC, TIM_CHANNEL_1) != HAL_OK)
  {
    Error_Handler();
  }
  __HAL_TIM_ENABLE_OCxPRELOAD(&htim1, TIM_CHANNEL_1);
  if (HAL_TIM_OC_ConfigChannel(&htim1, &sConfigOC, TIM_CHANNEL_2) != HAL_OK)
  {
    Error_Handler();
  }
  if (HAL_TIM_OC_ConfigChannel(&htim1, &sConfigOC, TIM_CHANNEL_3) != HAL_OK)
  {
    Error_Handler();
  }
  if (HAL_TIM_OC_ConfigChannel(&htim1, &sConfigOC, TIM_CHANNEL_4) != HAL_OK)
  {
    Error_Handler();
  }
  sBreakDeadTimeConfig.OffStateRunMode = TIM_OSSR_DISABLE;
  sBreakDeadTimeConfig.OffStateIDLEMode = TIM_OSSI_DISABLE;
  sBreakDeadTimeConfig.LockLevel = TIM_LOCKLEVEL_OFF;
  sBreakDeadTimeConfig.DeadTime = 0;
  sBreakDeadTimeConfig.BreakState = TIM_BREAK_DISABLE;
  sBreakDeadTimeConfig.BreakPolarity = TIM_BREAKPOLARITY_HIGH;
  sBreakDeadTimeConfig.AutomaticOutput = TIM_AUTOMATICOUTPUT_DISABLE;
  if (HAL_TIMEx_ConfigBreakDeadTime(&htim1, &sBreakDeadTimeConfig) != HAL_OK)
  {
    Error_Handler();
  }
  HAL_TIM_MspPostInit(&htim1);

}

static void MX_TIM2_Init(void)
{

  TIM_ClockConfigTypeDef sClockSourceConfig = {0};
  TIM_SlaveConfigTypeDef sSlaveConfig = {0};
  TIM_MasterConfigTypeDef sMasterConfig = {0};
  TIM_IC_InitTypeDef sConfigIC = {0};

  htim2.Instance = TIM2;
  htim2.Init.Prescaler = 0;
  htim2.Init.CounterMode = TIM_COUNTERMODE_UP;
  htim2.Init.Period = 65535;
  htim2.Init.ClockDivision = TIM_CLOCKDIVISION_DIV1;
  htim2.Init.AutoReloadPreload = TIM_AUTORELOAD_PRELOAD_DISABLE;
  if (HAL_TIM_Base_Init(&htim2) != HAL_OK)
  {
    Error_Handler();
  }
  sClockSourceConfig.ClockSource = TIM_CLOCKSOURCE_INTERNAL;
  if (HAL_TIM_ConfigClockSource(&htim2, &sClockSourceConfig) != HAL_OK)
  {
    Error_Handler();
  }
  if (HAL_TIM_IC_Init(&htim2) != HAL_OK)
  {
    Error_Handler();
  }
  sSlaveConfig.SlaveMode = TIM_SLAVEMODE_RESET;
  sSlaveConfig.InputTrigger = TIM_TS_ITR2;
  if (HAL_TIM_SlaveConfigSynchro(&htim2, &sSlaveConfig) != HAL_OK)
  {
    Error_Handler();
  }
  sMasterConfig.MasterOutputTrigger = TIM_TRGO_RESET;
  sMasterConfig.MasterSlaveMode = TIM_MASTERSLAVEMODE_DISABLE;
  if (HAL_TIMEx_MasterConfigSynchronization(&htim2, &sMasterConfig) != HAL_OK)
  {
    Error_Handler();
  }
  sConfigIC.ICPolarity = TIM_INPUTCHANNELPOLARITY_RISING;
  sConfigIC.ICSelection = TIM_ICSELECTION_DIRECTTI;
  sConfigIC.ICPrescaler = TIM_ICPSC_DIV1;
  sConfigIC.ICFilter = 0;
  if (HAL_TIM_IC_ConfigChannel(&htim2, &sConfigIC, TIM_CHANNEL_1) != HAL_OK)
  {
    Error_Handler();
  }
  sConfigIC.ICPolarity = TIM_INPUTCHANNELPOLARITY_FALLING;
  sConfigIC.ICSelection = TIM_ICSELECTION_INDIRECTTI;
  if (HAL_TIM_IC_ConfigChannel(&htim2, &sConfigIC, TIM_CHANNEL_2) != HAL_OK)
  {
    Error_Handler();
  }

}

static void MX_TIM3_Init(void)
{

  TIM_ClockConfigTypeDef sClockSourceConfig = {0};
  TIM_SlaveConfigTypeDef sSlaveConfig = {0};
  TIM_MasterConfigTypeDef sMasterConfig = {0};
  TIM_OC_InitTypeDef sConfigOC = {0};

  htim3.Instance = TIM3;
  htim3.Init.Prescaler = 0;
  htim3.Init.CounterMode = TIM_COUNTERMODE_UP;
  htim3.Init.Period = 30800;
  htim3.Init.ClockDivision = TIM_CLOCKDIVISION_DIV1;
  htim3.Init.AutoReloadPreload = TIM_AUTORELOAD_PRELOAD_ENABLE;
  if (HAL_TIM_Base_Init(&htim3) != HAL_OK)
  {
    Error_Handler();
  }
  sClockSourceConfig.ClockSource = TIM_CLOCKSOURCE_INTERNAL;
  if (HAL_TIM_ConfigClockSource(&htim3, &sClockSourceConfig) != HAL_OK)
  {
    Error_Handler();
  }
  if (HAL_TIM_OC_Init(&htim3) != HAL_OK)
  {
    Error_Handler();
  }
  if (HAL_TIM_OnePulse_Init(&htim3, TIM_OPMODE_SINGLE) != HAL_OK)
  {
    Error_Handler();
  }
  sSlaveConfig.SlaveMode = TIM_SLAVEMODE_TRIGGER;
  sSlaveConfig.InputTrigger = TIM_TS_ITR0;
  if (HAL_TIM_SlaveConfigSynchro(&htim3, &sSlaveConfig) != HAL_OK)
  {
    Error_Handler();
  }
  sMasterConfig.MasterOutputTrigger = TIM_TRGO_OC1;
  sMasterConfig.MasterSlaveMode = TIM_MASTERSLAVEMODE_DISABLE;
  if (HAL_TIMEx_MasterConfigSynchronization(&htim3, &sMasterConfig) != HAL_OK)
  {
    Error_Handler();
  }
  sConfigOC.OCMode = TIM_OCMODE_ACTIVE;
  sConfigOC.Pulse = 0;
  sConfigOC.OCPolarity = TIM_OCPOLARITY_HIGH;
  sConfigOC.OCFastMode = TIM_OCFAST_DISABLE;
  if (HAL_TIM_OC_ConfigChannel(&htim3, &sConfigOC, TIM_CHANNEL_1) != HAL_OK)
  {
    Error_Handler();
  }

}

static void MX_TIM4_Init(void)
{

  TIM_ClockConfigTypeDef sClockSourceConfig = {0};
  TIM_MasterConfigTypeDef sMasterConfig = {0};

  htim4.Instance = TIM4;
  htim4.Init.Prescaler = 2;
  htim4.Init.CounterMode = TIM_COUNTERMODE_UP;
  htim4.Init.Period = 65535;
  htim4.Init.ClockDivision = TIM_CLOCKDIVISION_DIV1;
  htim4.Init.AutoReloadPreload = TIM_AUTORELOAD_PRELOAD_ENABLE;
  if (HAL_TIM_Base_Init(&htim4) != HAL_OK)
  {
    Error_Handler();
  }
  sClockSourceConfig.ClockSource = TIM_CLOCKSOURCE_INTERNAL;
  if (HAL_TIM_ConfigClockSource(&htim4, &sClockSourceConfig) != HAL_OK)
  {
    Error_Handler();
  }
  sMasterConfig.MasterOutputTrigger = TIM_TRGO_UPDATE;
  sMasterConfig.MasterSlaveMode = TIM_MASTERSLAVEMODE_DISABLE;
  if (HAL_TIMEx_MasterConfigSynchronization(&htim4, &sMasterConfig) != HAL_OK)
  {
    Error_Handler();
  }

}

static void MX_USART1_UART_Init(void)
{

  huart1.Instance = USART1;
  huart1.Init.BaudRate = 115200;
  huart1.Init.WordLength = UART_WORDLENGTH_8B;
  huart1.Init.StopBits = UART_STOPBITS_1;
  huart1.Init.Parity = UART_PARITY_NONE;
  huart1.Init.Mode = UART_MODE_TX_RX;
  huart1.Init.HwFlowCtl = UART_HWCONTROL_NONE;
  huart1.Init.OverSampling = UART_OVERSAMPLING_16;
  if (HAL_UART_Init(&huart1) != HAL_OK)
  {
    Error_Handler();
  }

}

static void MX_GPIO_Init(void)
{
  GPIO_InitTypeDef GPIO_InitStruct = {0};

  /* GPIO Ports Clock Enable */
  __HAL_RCC_GPIOD_CLK_ENABLE();
  __HAL_RCC_GPIOA_CLK_ENABLE();
  __HAL_RCC_GPIOB_CLK_ENABLE();

  /*Configure GPIO pin Output Level */
  HAL_GPIO_WritePin(GPIOB, Z1Receive_Pin|Z2Receive_Pin|Z3Receive_Pin|Z4Receive_Pin
                          |Eth_CS_Pin|Eth_int_Pin|Eth_rst_Pin, GPIO_PIN_RESET);

  /*Configure GPIO pin Output Level */
  HAL_GPIO_WritePin(GPIOA, LED_Pin|TP_Pin, GPIO_PIN_RESET);

  /*Configure GPIO pins : Z1Receive_Pin Z2Receive_Pin Z3Receive_Pin Z4Receive_Pin
                           Eth_CS_Pin */
  GPIO_InitStruct.Pin = Z1Receive_Pin|Z2Receive_Pin|Z3Receive_Pin|Z4Receive_Pin
                          |Eth_CS_Pin;
  GPIO_InitStruct.Mode = GPIO_MODE_OUTPUT_PP;
  GPIO_InitStruct.Pull = GPIO_NOPULL;
  GPIO_InitStruct.Speed = GPIO_SPEED_FREQ_HIGH;
  HAL_GPIO_Init(GPIOB, &GPIO_InitStruct);

  /*Configure GPIO pins : LED_Pin TP_Pin */
  GPIO_InitStruct.Pin = LED_Pin|TP_Pin;
  GPIO_InitStruct.Mode = GPIO_MODE_OUTPUT_PP;
  GPIO_InitStruct.Pull = GPIO_NOPULL;
  GPIO_InitStruct.Speed = GPIO_SPEED_FREQ_HIGH;
  HAL_GPIO_Init(GPIOA, &GPIO_InitStruct);

  /*Configure GPIO pins : Eth_int_Pin Eth_rst_Pin */
  GPIO_InitStruct.Pin = Eth_int_Pin|Eth_rst_Pin;
  GPIO_InitStruct.Mode = GPIO_MODE_OUTPUT_PP;
  GPIO_InitStruct.Pull = GPIO_NOPULL;
  GPIO_InitStruct.Speed = GPIO_SPEED_FREQ_LOW;
  HAL_GPIO_Init(GPIOB, &GPIO_InitStruct);

}

/* USER CODE BEGIN 4 */
/* Процедура измерения */

void HAL_TIM_IC_CaptureCallback(TIM_HandleTypeDef* htim) {
	if (runFlag > 0) {								// Разрешено измерение ?
		if ((htim->Instance == TIM2) && (htim->Channel == HAL_TIM_ACTIVE_CHANNEL_1 || htim->Channel == HAL_TIM_ACTIVE_CHANNEL_2)) {
			if ((runFlag < COUNT_FRONT) || ((GPIOA->IDR & GPIO_PIN_0) != 0) ) {  // Ждем фронт первого импульса, дальше обрабатываем все импульсы.
				//LED_PULSE
				if (htim->Channel == HAL_TIM_ACTIVE_CHANNEL_1 ) {  // Активен фронт
					front_sum = front_sum + (uint16_t) (HAL_TIM_ReadCapturedValue(&htim2, TIM_CHANNEL_1) & 0x0FFFF);
				} else {   // Активен спад
					front_sum = front_sum + (uint16_t) (HAL_TIM_ReadCapturedValue(&htim2, TIM_CHANNEL_2) & 0x0FFFF);
				}
				runFlag--;
				if (runFlag == 0) {  // Измерения закончены ?
					STOP_CAPTURE  // Таймер больше не нужен, выключаем
					//#ifdef SYSTICK_DISABLE
					//	SysTick->CTRL |= SysTick_CTRL_ENABLE_Msk;  // Включение SysTick
					//#endif
					front_sum = front_sum / COUNT_FRONT - 3600;  // Расчитываем задержку от средины импульсов
					if (front_sum > 1500) {		// Ошибка измерения.
						front_sum = 1500;		// Значение необходимое для калибровки.
					}
					/* Turn off all multiplexer */
					GPIOB->ODR &= ~((1 << Z1Receive) | (1 << Z2Receive) | (1 << Z3Receive) | (1 << Z4Receive));
					switch (currentMode) {
						case 1: { // Z1 > Z2, Z12
							resul_arrayY1[measCount] = front_sum;
							break;
						}
						case 2: { // Z2 > Z1, Z21
							resul_arrayY2[measCount] = front_sum;
							break;
						}
						case 3: { // Z2 > Z3 Z23
							resul_arrayX1[measCount] = front_sum;
							break;
						}
						case 4: { // Z3 > Z2 Z32
							resul_arrayX2[measCount] = front_sum;
							break;
						}
						case 5: { // Z3 > Z4 Z34
							resul_arrayY3[measCount] = front_sum;
							break;
						}
						case 6: { // Z4 > Z3 Z43
							resul_arrayY4[measCount] = front_sum;
							break;
						}
						case 7: { // Z4 > Z1 Z41
							resul_arrayX3[measCount] = front_sum;
							break;
						}
						case 8: { // Z1 > Z4 Z14
							resul_arrayX4[measCount] = front_sum;
							//measCount++;
							break;
						}
					}
				}
			}
		}
	}
}

/* USER CODE END 4 */

void Error_Handler(void)
{
  __disable_irq();
  while (1)
  {
  }
}

/************************ (C) COPYRIGHT STMicroelectronics *****END OF FILE****/
